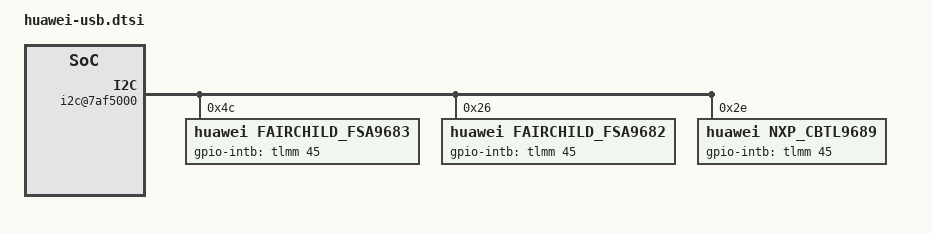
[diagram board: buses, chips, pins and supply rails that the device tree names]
&qusb_phy {
	qcom,qusb-phy-init-seq = <0xF8 0x80
				0x33 0x84
				0x83 0x88
				0xC0 0x8C
				0x30 0x08
				0x79 0x0C
				0x21 0x10
				0x14 0x9C
				0x9F 0x1C
				0x00 0x18>;
};

&soc {
	i2c@7af5000{
		fairchild_fsa9683: fsa9683@4c {
			compatible = "huawei,fairchild_fsa9683";
			reg = <0x4c>;
			fairchild_fsa9685,gpio-intb = <&tlmm 45 0>;
			status = "ok";
		};
		fairchild_fsa9682: fsa9682@26 {
			compatible = "huawei,fairchild_fsa9682";
			reg = <0x26>;
			fairchild_fsa9685,gpio-intb = <&tlmm 45 0>;
			status = "ok";
		};
		nxp_cbtl9689: cbtl9689@2e {
			compatible = "huawei,nxp_cbtl9689";
			reg = <0x2e>;
			fairchild_fsa9685,gpio-intb = <&tlmm 45 0>;
			status = "ok";
		};
	};
};
